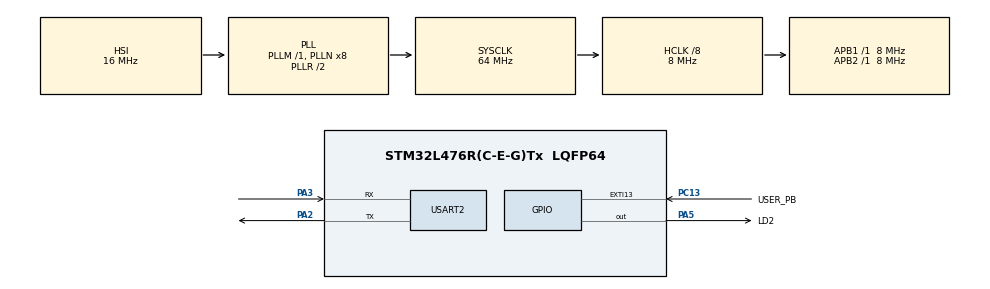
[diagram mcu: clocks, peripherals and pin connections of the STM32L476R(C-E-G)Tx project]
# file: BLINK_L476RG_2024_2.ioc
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Mcu.Family=STM32L4
Mcu.Name=STM32L476R(C-E-G)Tx
Mcu.Package=LQFP64
NVIC.EXTI15_10_IRQn=true\:0\:0\:false\:false\:true\:true\:true\:true
NVIC.PriorityGroup=NVIC_PRIORITYGROUP_4
PA2.Mode=Asynchronous
PA2.Signal=USART2_TX
PA3.Mode=Asynchronous
PA3.Signal=USART2_RX
PA5.GPIO_Label=LD2
PA5.Signal=GPIO_Output
PC13.GPIO_Label=USER_PB
PC13.Signal=GPXTI13
ProjectManager.HeapSize=0x200
ProjectManager.StackSize=0x400
ProjectManager.TargetToolchain=STM32CubeIDE
RCC.ADCFreq_Value=64000000
RCC.AHBCLKDivider=RCC_SYSCLK_DIV8
RCC.AHBFreq_Value=8000000
RCC.APB1Freq_Value=8000000
RCC.APB1TimFreq_Value=8000000
RCC.APB2Freq_Value=8000000
RCC.APB2TimFreq_Value=8000000
RCC.CortexFreq_Value=8000000
RCC.HCLKFreq_Value=8000000
RCC.HSE_VALUE=8000000
RCC.HSI_VALUE=16000000
RCC.LSE_VALUE=32768
RCC.MSI_VALUE=4000000
RCC.PLLSourceVirtual=RCC_PLLSOURCE_HSI
RCC.PREFETCH_ENABLE=1
RCC.SYSCLKFreq_VALUE=64000000
RCC.SYSCLKSource=RCC_SYSCLKSOURCE_PLLCLK
RCC.USBFreq_Value=64000000
RCC.VCOOutputFreq_Value=128000000
USART2.VirtualMode-Asynchronous=VM_ASYNC
board=NUCLEO-L476RG

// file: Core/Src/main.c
/* USER CODE BEGIN Header */
/**
  ******************************************************************************
  * @file           : main.c
  * @brief          : Main program body
  ******************************************************************************
  * @attention
  *
  * Copyright (c) 2024 STMicroelectronics.
  * All rights reserved.
  *
  * This software is licensed under terms that can be found in the LICENSE file
  * in the root directory of this software component.
  * If no LICENSE file comes with this software, it is provided AS-IS.
  *
  ******************************************************************************
  */
/* USER CODE END Header */
#include "main.h"
#include "usart.h"
#include "gpio.h"
#include <stdbool.h>
#include <stdio.h>

/* USER CODE BEGIN Includes */
#ifdef __GNUC__
/* With GCC/RAISONANCE, small printf (option LD Linker->Libraries->Small printf set to 'Yes') calls __io_putchar() */
#define PUTCHAR_PROTOTYPE int __io_putchar(int ch)
#else
#define PUTCHAR_PROTOTYPE int fputc(int ch, FILE *f)
#endif /* __GNUC__ */
/* USER CODE END Includes */

/* USER CODE BEGIN PTD */
bool ledOn = false;
int np_press=0;
/* USER CODE END PTD */

void SystemClock_Config(void);

int main(void)
{

  /* MCU Configuration--------------------------------------------------------*/

  /* Reset of all peripherals, Initializes the Flash interface and the Systick. */
  HAL_Init();

  /* Configure the system clock */
  SystemClock_Config();

  /* Initialize all configured peripherals */
  MX_GPIO_Init();
  MX_USART2_UART_Init();

  /* Infinite loop */
  while (1)
  {

    /* USER CODE BEGIN 3 */
	  if (np_press==1){
		  printf("button pressed\r;\n");

	  if(ledOn){
	 	  		  HAL_GPIO_WritePin(LD2_GPIO_Port, LD2_Pin, GPIO_PIN_SET);
	 	  		  printf("LED is ON\r\n");

	  }else{
	 	  		  HAL_GPIO_WritePin(LD2_GPIO_Port, LD2_Pin, GPIO_PIN_RESET);
	 	  		 printf("LED is OFF\r\n");

	 	  		}
	  np_press=0;
	  }

  }
  /* USER CODE END 3 */
}
void SystemClock_Config(void)
{
  RCC_OscInitTypeDef RCC_OscInitStruct = {0};
  RCC_ClkInitTypeDef RCC_ClkInitStruct = {0};

  /** Configure the main internal regulator output voltage
  */
  if (HAL_PWREx_ControlVoltageScaling(PWR_REGULATOR_VOLTAGE_SCALE1) != HAL_OK)
  {
    Error_Handler();
  }

  /** Initializes the RCC Oscillators according to the specified parameters
  * in the RCC_OscInitTypeDef structure.
  */
  RCC_OscInitStruct.OscillatorType = RCC_OSCILLATORTYPE_HSI;
  RCC_OscInitStruct.HSIState = RCC_HSI_ON;
  RCC_OscInitStruct.HSICalibrationValue = RCC_HSICALIBRATION_DEFAULT;
  RCC_OscInitStruct.PLL.PLLState = RCC_PLL_ON;
  RCC_OscInitStruct.PLL.PLLSource = RCC_PLLSOURCE_HSI;
  RCC_OscInitStruct.PLL.PLLM = 1;
  RCC_OscInitStruct.PLL.PLLN = 8;
  RCC_OscInitStruct.PLL.PLLP = RCC_PLLP_DIV7;
  RCC_OscInitStruct.PLL.PLLQ = RCC_PLLQ_DIV2;
  RCC_OscInitStruct.PLL.PLLR = RCC_PLLR_DIV2;
  if (HAL_RCC_OscConfig(&RCC_OscInitStruct) != HAL_OK)
  {
    Error_Handler();
  }

  /** Initializes the CPU, AHB and APB buses clocks
  */
  RCC_ClkInitStruct.ClockType = RCC_CLOCKTYPE_HCLK|RCC_CLOCKTYPE_SYSCLK
                              |RCC_CLOCKTYPE_PCLK1|RCC_CLOCKTYPE_PCLK2;
  RCC_ClkInitStruct.SYSCLKSource = RCC_SYSCLKSOURCE_PLLCLK;
  RCC_ClkInitStruct.AHBCLKDivider = RCC_SYSCLK_DIV8;
  RCC_ClkInitStruct.APB1CLKDivider = RCC_HCLK_DIV1;
  RCC_ClkInitStruct.APB2CLKDivider = RCC_HCLK_DIV1;

  if (HAL_RCC_ClockConfig(&RCC_ClkInitStruct, FLASH_LATENCY_0) != HAL_OK)
  {
    Error_Handler();
  }
}

/* USER CODE BEGIN 4 */
void HAL_GPIO_EXTI_Callback(uint16_t GPIO_Pin){
	if(GPIO_Pin == USER_PB_Pin){
		ledOn = !ledOn;
		np_press = 1;
	}
}
PUTCHAR_PROTOTYPE
{
    /* Place your implementation of fputc here */
    HAL_UART_Transmit(&huart2, (uint8_t *)&ch, 1, 100);
    return ch;
}

/* USER CODE END 4 */

void Error_Handler(void)
{
  __disable_irq();
  while (1)
  {
  }
}
